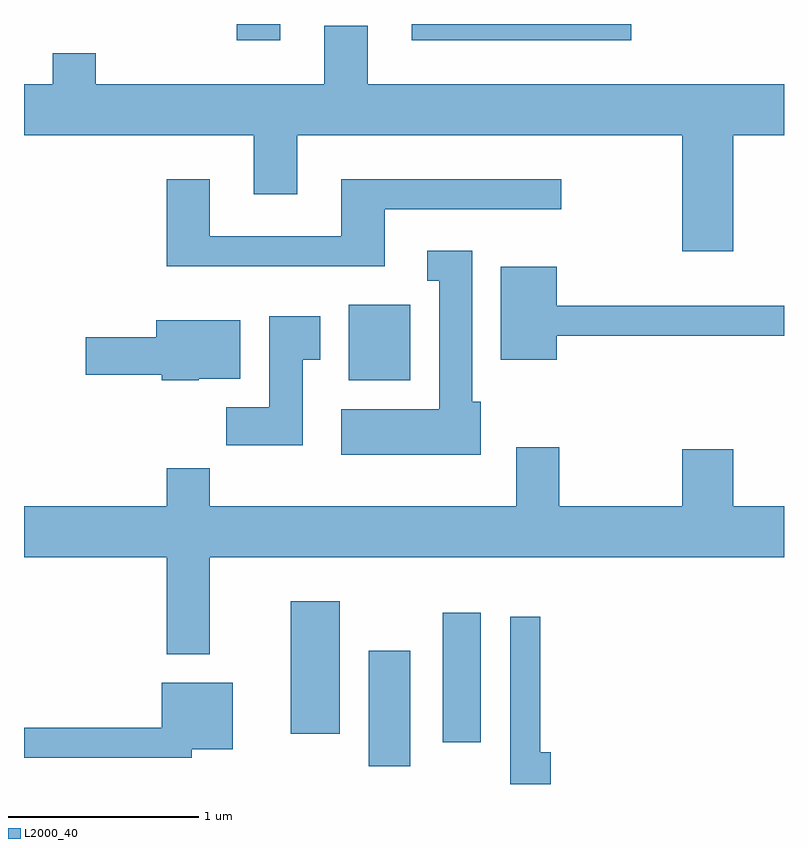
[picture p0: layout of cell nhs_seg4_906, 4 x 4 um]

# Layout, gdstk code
import gdstk
lib = gdstk.Library(unit=1e-6, precision=1e-09)
def R(c, l, rs):  # rectangles x0, y0, x1, y1
    for r in rs: c.add(gdstk.rectangle(r[:2], r[2:], *l))
def P(c, l, *ps):  # polygons
    for p in ps: c.add(gdstk.Polygon(p, *l))
L2000_40 = (2000, 40)

nhs_seg4_906 = lib.new_cell('nhs_seg4_906')
R(nhs_seg4_906, L2000_40, [(213.426,1298.076,213.644,1298.684), (213.816,1298.201,214.014,1298.884), (213.016,1298.246,213.274,1298.944), (213.321,1300.106,213.644,1300.504), (212.731,1301.896,212.959,1301.982), (213.651,1301.896,214.808,1301.982), (211.611,1301.981,212.518,1301.982)])
P(nhs_seg4_906, L2000_40, [(215.344,1301.396),(215.611,1301.396),(215.611,1301.664),(213.419,1301.664),(213.419,1301.974),(213.191,1301.974),(213.191,1301.664),(211.989,1301.664),(211.989,1301.829),(211.761,1301.829),(211.761,1301.664),(211.611,1301.664),(211.611,1301.396),(212.821,1301.396),(212.821,1301.086),(213.049,1301.086),(213.049,1301.396),(215.076,1301.396),(215.076,1300.786),(215.344,1300.786)],
  [(213.509,1301.006),(214.438,1301.006),(214.438,1301.164),(213.281,1301.164),(213.281,1300.864),(212.589,1300.864),(212.589,1301.164),(212.361,1301.164),(212.361,1300.706),(213.509,1300.706)],
  [(214.014,1299.994),(213.969,1299.994),(213.969,1300.789),(213.733,1300.789),(213.733,1300.631),(213.796,1300.631),(213.796,1299.954),(213.281,1299.954),(213.281,1299.716),(214.014,1299.716)],
  [(214.414,1300.341),(215.611,1300.341),(215.611,1300.499),(214.414,1300.499),(214.414,1300.704),(214.121,1300.704),(214.121,1300.216),(214.414,1300.216)],
  [(213.079,1300.216),(213.169,1300.216),(213.169,1300.444),(212.901,1300.444),(212.901,1299.964),(212.676,1299.964),(212.676,1299.766),(213.079,1299.766)],
  [(212.53,1300.116),(212.749,1300.116),(212.749,1300.424),(212.306,1300.424),(212.306,1300.334),(211.936,1300.334),(211.936,1300.136),(212.336,1300.136),(212.336,1300.106),(212.53,1300.106)],
  [(212.589,1299.176),(215.611,1299.176),(215.611,1299.444),(215.344,1299.444),(215.344,1299.744),(215.076,1299.744),(215.076,1299.444),(214.429,1299.444),(214.429,1299.754),(214.201,1299.754),(214.201,1299.444),(212.589,1299.444),(212.589,1299.644),(212.361,1299.644),(212.361,1299.444),(211.611,1299.444),(211.611,1299.176),(212.361,1299.176),(212.361,1298.666),(212.589,1298.666)],
  [(214.384,1298.149),(214.329,1298.149),(214.329,1298.863),(214.171,1298.863),(214.171,1297.982),(214.384,1297.982)],
  [(212.494,1298.166),(212.709,1298.166),(212.709,1298.514),(212.336,1298.514),(212.336,1298.279),(211.611,1298.279),(211.611,1298.121),(212.494,1298.121)])

lib.write_gds('nhs_seg4_906.gds')
